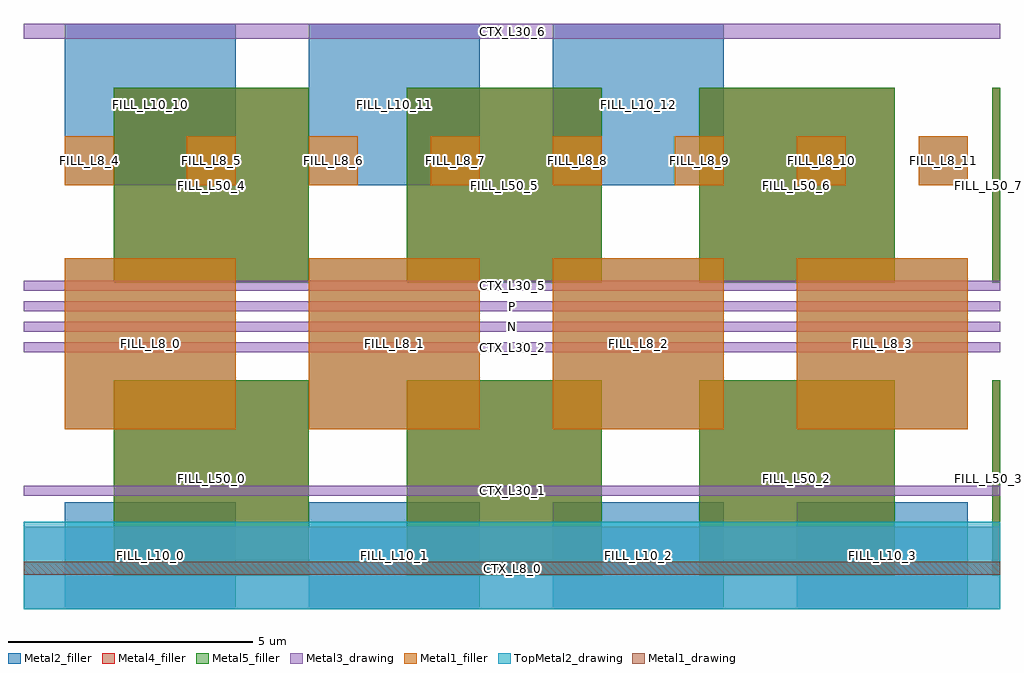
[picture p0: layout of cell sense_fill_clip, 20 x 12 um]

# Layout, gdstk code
import gdstk
lib = gdstk.Library(unit=1e-6, precision=1e-09)
def R(c, l, rs):  # rectangles x0, y0, x1, y1
    for r in rs: c.add(gdstk.rectangle(r[:2], r[2:], *l))
def A(c, l, x, y, w, h, nx, ny, dx, dy):  # array of equal rectangles
    R(c, l, [(x+i*dx, y+j*dy, x+i*dx+w, y+j*dy+h) for i in range(nx) for j in range(ny)])
Metal1_drawing = (8, 0)
Metal1_filler = (8, 22)
Metal2_filler = (10, 22)
Metal3_drawing = (30, 0)
Metal4_filler = (50, 22)
Metal5_filler = (67, 22)
TopMetal2_drawing = (134, 0)

sense_fill_clip = lib.new_cell('sense_fill_clip')
R(sense_fill_clip, Metal1_drawing, [(844.16,942.02,864.16,942.28)])
A(sense_fill_clip, Metal1_filler, 845, 945, 3.5, 3.5, 4, 1, 5, 0)
A(sense_fill_clip, Metal1_filler, 845, 950, 1, 1, 8, 1, 2.5, 0)
A(sense_fill_clip, Metal2_filler, 845, 941.31, 3.5, 2.19, 4, 1, 5, 0)
A(sense_fill_clip, Metal2_filler, 845, 945, 3.5, 3.5, 4, 1, 5, 0)
A(sense_fill_clip, Metal2_filler, 845, 950, 3.5, 3.31, 3, 1, 5, 0)
R(sense_fill_clip, Metal2_filler, [(860,950,861,951), (862.5,950,863.5,951)])
A(sense_fill_clip, Metal3_drawing, 844.16, 946.58, 20, 0.2, 1, 4, 0, 0.42)
R(sense_fill_clip, Metal3_drawing, [(844.16,941.31,864.16,943), (844.16,943.64,864.16,943.84), (844.16,953,864.16,953.31)])
A(sense_fill_clip, Metal4_filler, 846, 942, 4, 4, 3, 2, 6, 6)
R(sense_fill_clip, Metal4_filler, [(864,942,864.16,946), (864,948,864.16,952)])
A(sense_fill_clip, Metal5_filler, 846, 942, 4, 4, 3, 2, 6, 6)
R(sense_fill_clip, Metal5_filler, [(864,942,864.16,946), (864,948,864.16,952)])
R(sense_fill_clip, TopMetal2_drawing, [(844.16,941.31,864.16,943.1)])
sense_fill_clip.add(gdstk.Label('CTX_L8_0', (854.16,942.15), layer=8, texttype=25))
sense_fill_clip.add(gdstk.Label('FILL_L8_0', (846.75,946.75), layer=8, texttype=25))
sense_fill_clip.add(gdstk.Label('FILL_L8_1', (851.75,946.75), layer=8, texttype=25))
sense_fill_clip.add(gdstk.Label('FILL_L8_2', (856.75,946.75), layer=8, texttype=25))
sense_fill_clip.add(gdstk.Label('FILL_L8_3', (861.75,946.75), layer=8, texttype=25))
sense_fill_clip.add(gdstk.Label('FILL_L8_4', (845.5,950.5), layer=8, texttype=25))
sense_fill_clip.add(gdstk.Label('FILL_L8_5', (848,950.5), layer=8, texttype=25))
sense_fill_clip.add(gdstk.Label('FILL_L8_6', (850.5,950.5), layer=8, texttype=25))
sense_fill_clip.add(gdstk.Label('FILL_L8_7', (853,950.5), layer=8, texttype=25))
sense_fill_clip.add(gdstk.Label('FILL_L8_8', (855.5,950.5), layer=8, texttype=25))
sense_fill_clip.add(gdstk.Label('FILL_L8_9', (858,950.5), layer=8, texttype=25))
sense_fill_clip.add(gdstk.Label('FILL_L8_10', (860.5,950.5), layer=8, texttype=25))
sense_fill_clip.add(gdstk.Label('FILL_L8_11', (863,950.5), layer=8, texttype=25))
sense_fill_clip.add(gdstk.Label('FILL_L10_0', (846.75,942.405), layer=10, texttype=25))
sense_fill_clip.add(gdstk.Label('FILL_L10_1', (851.75,942.405), layer=10, texttype=25))
sense_fill_clip.add(gdstk.Label('FILL_L10_2', (856.75,942.405), layer=10, texttype=25))
sense_fill_clip.add(gdstk.Label('FILL_L10_3', (861.75,942.405), layer=10, texttype=25))
sense_fill_clip.add(gdstk.Label('FILL_L10_4', (846.75,946.75), layer=10, texttype=25))
sense_fill_clip.add(gdstk.Label('FILL_L10_5', (851.75,946.75), layer=10, texttype=25))
sense_fill_clip.add(gdstk.Label('FILL_L10_6', (856.75,946.75), layer=10, texttype=25))
sense_fill_clip.add(gdstk.Label('FILL_L10_7', (861.75,946.75), layer=10, texttype=25))
sense_fill_clip.add(gdstk.Label('FILL_L10_8', (860.5,950.5), layer=10, texttype=25))
sense_fill_clip.add(gdstk.Label('FILL_L10_9', (863,950.5), layer=10, texttype=25))
sense_fill_clip.add(gdstk.Label('FILL_L10_10', (846.75,951.655), layer=10, texttype=25))
sense_fill_clip.add(gdstk.Label('FILL_L10_11', (851.75,951.655), layer=10, texttype=25))
sense_fill_clip.add(gdstk.Label('FILL_L10_12', (856.75,951.655), layer=10, texttype=25))
sense_fill_clip.add(gdstk.Label('CTX_L30_0', (854.16,942.155), layer=30, texttype=25))
sense_fill_clip.add(gdstk.Label('CTX_L30_1', (854.16,943.74), layer=30, texttype=25))
sense_fill_clip.add(gdstk.Label('CTX_L30_2', (854.16,946.68), layer=30, texttype=25))
sense_fill_clip.add(gdstk.Label('N', (854.16,947.1), layer=30, texttype=25))
sense_fill_clip.add(gdstk.Label('P', (854.16,947.52), layer=30, texttype=25))
sense_fill_clip.add(gdstk.Label('CTX_L30_5', (854.16,947.94), layer=30, texttype=25))
sense_fill_clip.add(gdstk.Label('CTX_L30_6', (854.16,953.155), layer=30, texttype=25))
sense_fill_clip.add(gdstk.Label('FILL_L50_0', (848,944), layer=50, texttype=25))
sense_fill_clip.add(gdstk.Label('FILL_L50_1', (854,944), layer=50, texttype=25))
sense_fill_clip.add(gdstk.Label('FILL_L50_2', (860,944), layer=50, texttype=25))
sense_fill_clip.add(gdstk.Label('FILL_L50_3', (864.08,944), layer=50, texttype=25))
sense_fill_clip.add(gdstk.Label('FILL_L50_4', (848,950), layer=50, texttype=25))
sense_fill_clip.add(gdstk.Label('FILL_L50_5', (854,950), layer=50, texttype=25))
sense_fill_clip.add(gdstk.Label('FILL_L50_6', (860,950), layer=50, texttype=25))
sense_fill_clip.add(gdstk.Label('FILL_L50_7', (864.08,950), layer=50, texttype=25))
sense_fill_clip.add(gdstk.Label('FILL_L67_0', (848,944), layer=67, texttype=25))
sense_fill_clip.add(gdstk.Label('FILL_L67_1', (854,944), layer=67, texttype=25))
sense_fill_clip.add(gdstk.Label('FILL_L67_2', (860,944), layer=67, texttype=25))
sense_fill_clip.add(gdstk.Label('FILL_L67_3', (864.08,944), layer=67, texttype=25))
sense_fill_clip.add(gdstk.Label('FILL_L67_4', (848,950), layer=67, texttype=25))
sense_fill_clip.add(gdstk.Label('FILL_L67_5', (854,950), layer=67, texttype=25))
sense_fill_clip.add(gdstk.Label('FILL_L67_6', (860,950), layer=67, texttype=25))
sense_fill_clip.add(gdstk.Label('FILL_L67_7', (864.08,950), layer=67, texttype=25))
sense_fill_clip.add(gdstk.Label('CTX_L134_0', (854.16,942.205), layer=134, texttype=25))

lib.write_gds('sense_fill_clip.gds')
